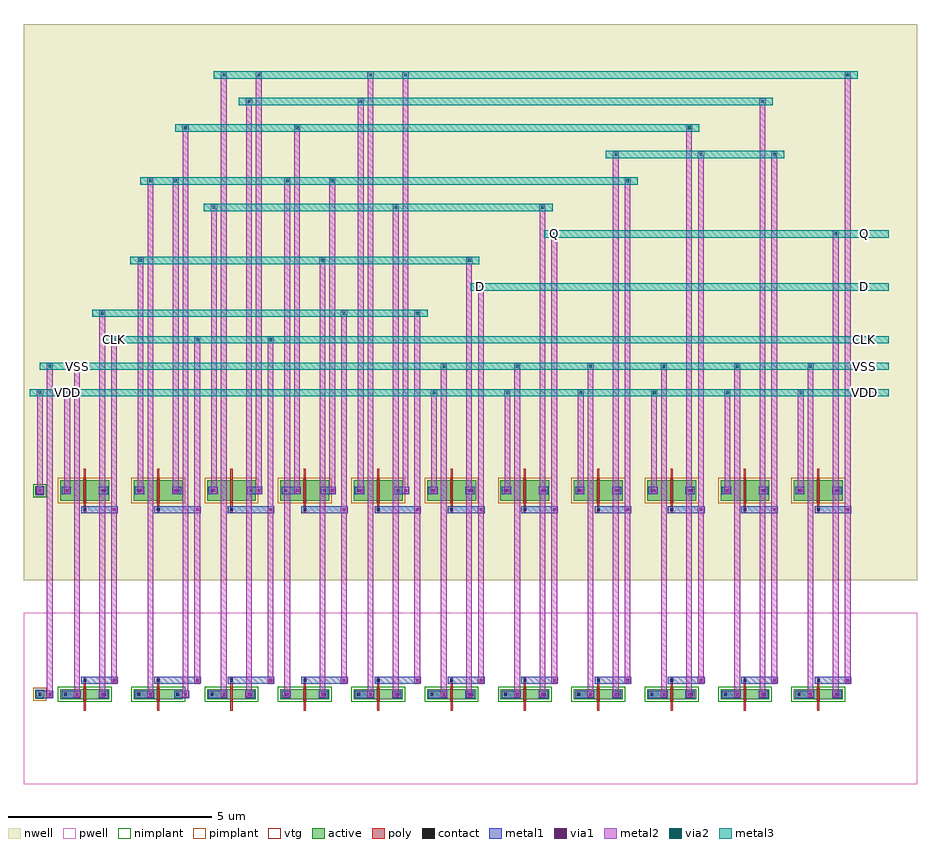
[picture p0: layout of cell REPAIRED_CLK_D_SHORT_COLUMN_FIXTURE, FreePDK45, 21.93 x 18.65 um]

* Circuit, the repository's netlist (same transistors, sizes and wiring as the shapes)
* cell REPAIRED_CLK_D_SHORT_COLUMN_FIXTURE
* pin CLK
* pin D
* pin Q
* pin VDD
* pin VSS
.SUBCKT REPAIRED_CLK_D_SHORT_COLUMN_FIXTURE 7 8 9 12 13
* net 7 CLK
* net 8 D
* net 9 Q
* net 12 VDD
* net 13 VSS
* device instance $1 r0 *1 19.2,7 PMOS_VTG
M$1 9 4 12 12 PMOS_VTG L=0.05U W=0.5U AS=0.2875P AD=0.2875P PS=2.15U PD=2.15U
* device instance $2 r0 *1 17.4,7 PMOS_VTG
M$2 5 6 12 12 PMOS_VTG L=0.05U W=0.5U AS=0.2875P AD=0.2875P PS=2.15U PD=2.15U
* device instance $3 r0 *1 15.6,7 PMOS_VTG
M$3 3 6 12 12 PMOS_VTG L=0.05U W=0.5U AS=0.2875P AD=0.2875P PS=2.15U PD=2.15U
* device instance $4 r0 *1 13.8,7 PMOS_VTG
M$4 6 2 12 12 PMOS_VTG L=0.05U W=0.5U AS=0.2875P AD=0.2875P PS=2.15U PD=2.15U
* device instance $5 r0 *1 12,7 PMOS_VTG
M$5 11 9 12 12 PMOS_VTG L=0.05U W=0.5U AS=0.2875P AD=0.2875P PS=2.15U PD=2.15U
* device instance $6 r0 *1 1.2,7 PMOS_VTG
M$6 1 7 12 12 PMOS_VTG L=0.05U W=0.5U AS=0.2875P AD=0.2875P PS=2.15U PD=2.15U
* device instance $7 r0 *1 10.2,7 PMOS_VTG
M$7 10 8 12 12 PMOS_VTG L=0.05U W=0.5U AS=0.2875P AD=0.2875P PS=2.15U PD=2.15U
* device instance $8 r0 *1 3,7 PMOS_VTG
M$8 2 7 10 12 PMOS_VTG L=0.05U W=0.5U AS=0.2875P AD=0.2875P PS=2.15U PD=2.15U
* device instance $9 r0 *1 4.8,7 PMOS_VTG
M$9 4 7 11 12 PMOS_VTG L=0.05U W=0.5U AS=0.2875P AD=0.2875P PS=2.15U PD=2.15U
* device instance $10 r0 *1 6.6,7 PMOS_VTG
M$10 2 1 3 12 PMOS_VTG L=0.05U W=0.5U AS=0.2875P AD=0.2875P PS=2.15U PD=2.15U
* device instance $11 r0 *1 8.4,7 PMOS_VTG
M$11 4 1 5 12 PMOS_VTG L=0.05U W=0.5U AS=0.2875P AD=0.2875P PS=2.15U PD=2.15U
* device instance $12 r0 *1 19.2,2 NMOS_VTG
M$12 9 4 13 13 NMOS_VTG L=0.05U W=0.25U AS=0.14375P AD=0.14375P PS=1.65U
+ PD=1.65U
* device instance $13 r0 *1 15.6,2 NMOS_VTG
M$13 3 6 13 13 NMOS_VTG L=0.05U W=0.25U AS=0.14375P AD=0.14375P PS=1.65U
+ PD=1.65U
* device instance $14 r0 *1 13.8,2 NMOS_VTG
M$14 6 2 13 13 NMOS_VTG L=0.05U W=0.25U AS=0.14375P AD=0.14375P PS=1.65U
+ PD=1.65U
* device instance $15 r0 *1 12,2 NMOS_VTG
M$15 11 9 13 13 NMOS_VTG L=0.05U W=0.25U AS=0.14375P AD=0.14375P PS=1.65U
+ PD=1.65U
* device instance $16 r0 *1 1.2,2 NMOS_VTG
M$16 1 7 13 13 NMOS_VTG L=0.05U W=0.25U AS=0.14375P AD=0.14375P PS=1.65U
+ PD=1.65U
* device instance $17 r0 *1 17.4,2 NMOS_VTG
M$17 5 6 13 13 NMOS_VTG L=0.05U W=0.25U AS=0.14375P AD=0.14375P PS=1.65U
+ PD=1.65U
* device instance $18 r0 *1 6.6,2 NMOS_VTG
M$18 10 1 2 13 NMOS_VTG L=0.05U W=0.25U AS=0.14375P AD=0.14375P PS=1.65U
+ PD=1.65U
* device instance $19 r0 *1 3,2 NMOS_VTG
M$19 3 7 2 13 NMOS_VTG L=0.05U W=0.25U AS=0.14375P AD=0.14375P PS=1.65U PD=1.65U
* device instance $20 r0 *1 10.2,2 NMOS_VTG
M$20 10 8 13 13 NMOS_VTG L=0.05U W=0.25U AS=0.14375P AD=0.14375P PS=1.65U
+ PD=1.65U
* device instance $21 r0 *1 4.8,2 NMOS_VTG
M$21 5 7 4 13 NMOS_VTG L=0.05U W=0.25U AS=0.14375P AD=0.14375P PS=1.65U PD=1.65U
* device instance $22 r0 *1 8.4,2 NMOS_VTG
M$22 11 1 4 13 NMOS_VTG L=0.05U W=0.25U AS=0.14375P AD=0.14375P PS=1.65U
+ PD=1.65U
.ENDS REPAIRED_CLK_D_SHORT_COLUMN_FIXTURE

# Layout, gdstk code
import gdstk
lib = gdstk.Library(unit=1e-6, precision=5e-10)
def R(c, l, rs):  # rectangles x0, y0, x1, y1
    for r in rs: c.add(gdstk.rectangle(r[:2], r[2:], *l))
def A(c, l, x, y, w, h, nx, ny, dx, dy):  # array of equal rectangles
    R(c, l, [(x+i*dx, y+j*dy, x+i*dx+w, y+j*dy+h) for i in range(nx) for j in range(ny)])
active = (1, 0)
pwell = (2, 0)
nwell = (3, 0)
nimplant = (4, 0)
pimplant = (5, 0)
vtg = (6, 0)
poly = (9, 0)
contact = (10, 0)
metal1 = (11, 0)
via1 = (12, 0)
metal2 = (13, 0)
via2 = (14, 0)
metal3 = (15, 0)

repaired_clk_d_short_col = lib.new_cell('REPAIRED_CLK_D_SHORT_COLUMN_FIXTURE')
A(repaired_clk_d_short_col, active, 0.6, 1.875, 1.2, 0.25, 11, 1, 1.8, 0)
A(repaired_clk_d_short_col, active, 0.6, 6.75, 1.2, 0.5, 11, 1, 1.8, 0)
R(repaired_clk_d_short_col, active, [(-0.01,1.89,0.21,2.11), (-0.01,6.89,0.21,7.11)])
R(repaired_clk_d_short_col, pwell, [(-0.3,-0.2,21.63,4)])
R(repaired_clk_d_short_col, nwell, [(-0.3,4.8,21.63,18.45)])
A(repaired_clk_d_short_col, nimplant, 0.54, 1.815, 1.32, 0.37, 11, 1, 1.8, 0)
R(repaired_clk_d_short_col, nimplant, [(-0.06,6.84,0.26,7.16)])
A(repaired_clk_d_short_col, pimplant, 0.54, 6.69, 1.32, 0.62, 11, 1, 1.8, 0)
R(repaired_clk_d_short_col, pimplant, [(-0.06,1.84,0.26,2.16)])
A(repaired_clk_d_short_col, vtg, 1.165, 1.845, 0.07, 0.31, 11, 1, 1.8, 0)
A(repaired_clk_d_short_col, vtg, 1.165, 6.72, 0.07, 0.56, 11, 1, 1.8, 0)
A(repaired_clk_d_short_col, poly, 1.175, 1.595, 0.05, 0.81, 11, 1, 1.8, 0)
A(repaired_clk_d_short_col, poly, 1.175, 6.47, 0.05, 1.06, 11, 1, 1.8, 0)
A(repaired_clk_d_short_col, contact, 1.17, 2.315, 0.065, 0.065, 11, 2, 1.8, 4.185)
R(repaired_clk_d_short_col, contact, [(0.07,1.97,0.135,2.035), (0.69,1.97,0.755,2.035), (1.65,1.97,1.715,2.035), (2.49,1.97,2.555,2.035), (3.45,1.97,3.515,2.035), (4.29,1.97,4.355,2.035), (5.25,1.97,5.315,2.035), (6.09,1.97,6.155,2.035), (7.05,1.97,7.115,2.035), (7.89,1.97,7.955,2.035), (8.85,1.97,8.915,2.035), (9.69,1.97,9.755,2.035), (10.65,1.97,10.715,2.035), (11.49,1.97,11.555,2.035), (12.45,1.97,12.515,2.035), (13.29,1.97,13.355,2.035), (14.25,1.97,14.315,2.035), (15.09,1.97,15.155,2.035), (16.05,1.97,16.115,2.035), (16.89,1.97,16.955,2.035), (17.85,1.97,17.915,2.035), (18.69,1.97,18.755,2.035), (19.65,1.97,19.715,2.035), (0.07,6.97,0.135,7.035), (0.69,6.97,0.755,7.035), (1.65,6.97,1.715,7.035), (2.49,6.97,2.555,7.035), (3.45,6.97,3.515,7.035), (4.29,6.97,4.355,7.035), (5.25,6.97,5.315,7.035), (6.09,6.97,6.155,7.035), (7.05,6.97,7.115,7.035), (7.89,6.97,7.955,7.035), (8.85,6.97,8.915,7.035), (9.69,6.97,9.755,7.035), (10.65,6.97,10.715,7.035), (11.49,6.97,11.555,7.035), (12.45,6.97,12.515,7.035), (13.29,6.97,13.355,7.035), (14.25,6.97,14.315,7.035), (15.09,6.97,15.155,7.035), (16.05,6.97,16.115,7.035), (16.89,6.97,16.955,7.035), (17.85,6.97,17.915,7.035), (18.69,6.97,18.755,7.035), (19.65,6.97,19.715,7.035)])
A(repaired_clk_d_short_col, metal1, 7.97, 1.91, 0.24, 0.18, 7, 1, 1.8, 0)
A(repaired_clk_d_short_col, metal1, 3, 2.255, 0.96, 0.18, 4, 2, 1.8, 4.185)
A(repaired_clk_d_short_col, metal1, 10.2, 2.255, 0.72, 0.18, 6, 2, 1.8, 4.185)
R(repaired_clk_d_short_col, metal1, [(0,1.9,0.2,2.1), (0.1,1.91,0.34,2.09), (0.1,1.91,0.34,2.09), (0.1,1.91,0.34,2.09), (0.1,1.91,0.34,2.09), (0.1,1.91,0.34,2.09), (0.1,1.91,0.34,2.09), (0.1,1.91,0.34,2.09), (0.1,1.91,0.34,2.09), (0.1,1.91,0.34,2.09), (0.1,1.91,0.34,2.09), (0.1,1.91,0.34,2.09), (0.1,1.91,0.34,2.09), (0.25,1.91,0.43,2.09), (0.25,1.91,0.43,2.09), (0.25,1.91,0.43,2.09), (0.25,1.91,0.43,2.09), (0.25,1.91,0.43,2.09), (0.25,1.91,0.43,2.09), (0.25,1.91,0.43,2.09), (0.25,1.91,0.43,2.09), (0.25,1.91,0.43,2.09), (0.25,1.91,0.43,2.09), (0.25,1.91,0.43,2.09), (0.25,1.91,0.43,2.09), (0.63,1.91,0.81,2.09), (0.77,1.91,1.01,2.09), (0.92,1.91,1.1,2.09), (1.54,1.91,1.72,2.09), (1.59,1.91,1.77,2.09), (2.43,1.91,2.61,2.09), (2.57,1.91,2.81,2.09), (2.72,1.91,2.9,2.09), (3.39,1.91,3.57,2.09), (3.43,1.91,3.67,2.09), (3.58,1.91,3.76,2.09), (4.23,1.91,4.41,2.09), (4.37,1.91,4.61,2.09), (4.52,1.91,4.7,2.09), (5.14,1.91,5.32,2.09), (5.19,1.91,5.37,2.09), (6.03,1.91,6.21,2.09), (6.08,1.91,6.26,2.09), (6.94,1.91,7.12,2.09), (6.99,1.91,7.17,2.09), (7.83,1.91,8.01,2.09), (8.12,1.91,8.3,2.09), (8.74,1.91,8.92,2.09), (8.79,1.91,8.97,2.09), (9.63,1.91,9.81,2.09), (9.92,1.91,10.1,2.09), (10.54,1.91,10.72,2.09), (10.59,1.91,10.77,2.09), (11.43,1.91,11.61,2.09), (11.72,1.91,11.9,2.09), (12.34,1.91,12.52,2.09), (12.39,1.91,12.57,2.09), (13.23,1.91,13.41,2.09), (13.52,1.91,13.7,2.09), (14.14,1.91,14.32,2.09), (14.19,1.91,14.37,2.09), (15.03,1.91,15.21,2.09), (15.32,1.91,15.5,2.09), (15.94,1.91,16.12,2.09), (15.99,1.91,16.17,2.09), (16.83,1.91,17.01,2.09), (17.12,1.91,17.3,2.09), (17.74,1.91,17.92,2.09), (17.79,1.91,17.97,2.09), (18.63,1.91,18.81,2.09), (18.92,1.91,19.1,2.09), (19.54,1.91,19.72,2.09), (19.59,1.91,19.77,2.09), (1.11,2.255,1.29,2.435), (1.2,2.255,1.92,2.435), (1.83,2.255,2.01,2.435), (2.91,2.255,3.09,2.435), (3.87,2.255,4.05,2.435), (4.71,2.255,4.89,2.435), (5.67,2.255,5.85,2.435), (6.51,2.255,6.69,2.435), (7.47,2.255,7.65,2.435), (8.31,2.255,8.49,2.435), (9.27,2.255,9.45,2.435), (10.11,2.255,10.29,2.435), (10.83,2.255,11.01,2.435), (11.91,2.255,12.09,2.435), (12.63,2.255,12.81,2.435), (13.71,2.255,13.89,2.435), (14.43,2.255,14.61,2.435), (15.51,2.255,15.69,2.435), (16.23,2.255,16.41,2.435), (17.31,2.255,17.49,2.435), (18.03,2.255,18.21,2.435), (19.11,2.255,19.29,2.435), (19.83,2.255,20.01,2.435), (1.11,6.44,1.29,6.62), (1.2,6.44,1.92,6.62), (1.83,6.44,2.01,6.62), (2.91,6.44,3.09,6.62), (3.87,6.44,4.05,6.62), (4.71,6.44,4.89,6.62), (5.67,6.44,5.85,6.62), (6.51,6.44,6.69,6.62), (7.47,6.44,7.65,6.62), (8.31,6.44,8.49,6.62), (9.27,6.44,9.45,6.62), (10.11,6.44,10.29,6.62), (10.83,6.44,11.01,6.62), (11.91,6.44,12.09,6.62), (12.63,6.44,12.81,6.62), (13.71,6.44,13.89,6.62), (14.43,6.44,14.61,6.62), (15.51,6.44,15.69,6.62), (16.23,6.44,16.41,6.62), (17.31,6.44,17.49,6.62), (18.03,6.44,18.21,6.62), (19.11,6.44,19.29,6.62), (19.83,6.44,20.01,6.62), (0,6.9,0.2,7.1), (0.01,6.91,0.19,7.09), (0.01,6.91,0.19,7.09), (0.01,6.91,0.19,7.09), (0.01,6.91,0.19,7.09), (0.01,6.91,0.19,7.09), (0.01,6.91,0.19,7.09), (0.01,6.91,0.19,7.09), (0.01,6.91,0.19,7.09), (0.01,6.91,0.19,7.09), (0.01,6.91,0.19,7.09), (0.01,6.91,0.19,7.09), (0.01,6.91,0.19,7.09), (0.63,6.91,0.81,7.09), (0.68,6.91,0.86,7.09), (1.54,6.91,1.72,7.09), (1.59,6.91,1.77,7.09), (2.43,6.91,2.61,7.09), (2.48,6.91,2.66,7.09), (3.34,6.91,3.52,7.09), (3.39,6.91,3.57,7.09), (4.23,6.91,4.41,7.09), (4.28,6.91,4.46,7.09), (5.19,6.91,5.37,7.09), (5.23,6.91,5.47,7.09), (5.38,6.91,5.56,7.09), (6.03,6.91,6.21,7.09), (6.17,6.91,6.41,7.09), (6.32,6.91,6.5,7.09), (6.99,6.91,7.17,7.09), (7.03,6.91,7.27,7.09), (7.18,6.91,7.36,7.09), (7.83,6.91,8.01,7.09), (7.88,6.91,8.06,7.09), (8.79,6.91,8.97,7.09), (8.83,6.91,9.07,7.09), (8.98,6.91,9.16,7.09), (9.63,6.91,9.81,7.09), (9.68,6.91,9.86,7.09), (10.54,6.91,10.72,7.09), (10.59,6.91,10.77,7.09), (11.43,6.91,11.61,7.09), (11.48,6.91,11.66,7.09), (12.34,6.91,12.52,7.09), (12.39,6.91,12.57,7.09), (13.23,6.91,13.41,7.09), (13.28,6.91,13.46,7.09), (14.14,6.91,14.32,7.09), (14.19,6.91,14.37,7.09), (15.03,6.91,15.21,7.09), (15.08,6.91,15.26,7.09), (15.94,6.91,16.12,7.09), (15.99,6.91,16.17,7.09), (16.83,6.91,17.01,7.09), (16.88,6.91,17.06,7.09), (17.74,6.91,17.92,7.09), (17.79,6.91,17.97,7.09), (18.63,6.91,18.81,7.09), (18.68,6.91,18.86,7.09), (19.54,6.91,19.72,7.09), (19.59,6.91,19.77,7.09)])
A(repaired_clk_d_short_col, via1, 3.93, 2.315, 0.065, 0.065, 4, 2, 1.8, 4.185)
A(repaired_clk_d_short_col, via1, 10.89, 2.315, 0.065, 0.065, 6, 2, 1.8, 4.185)
R(repaired_clk_d_short_col, via1, [(0.31,1.97,0.375,2.035), (0.31,1.97,0.375,2.035), (0.31,1.97,0.375,2.035), (0.31,1.97,0.375,2.035), (0.31,1.97,0.375,2.035), (0.31,1.97,0.375,2.035), (0.31,1.97,0.375,2.035), (0.31,1.97,0.375,2.035), (0.31,1.97,0.375,2.035), (0.31,1.97,0.375,2.035), (0.31,1.97,0.375,2.035), (0.31,1.97,0.375,2.035), (0.98,1.97,1.045,2.035), (1.6,1.97,1.665,2.035), (2.78,1.97,2.845,2.035), (3.64,1.97,3.705,2.035), (4.58,1.97,4.645,2.035), (5.2,1.97,5.265,2.035), (6.14,1.97,6.205,2.035), (7,1.97,7.065,2.035), (8.18,1.97,8.245,2.035), (8.8,1.97,8.865,2.035), (9.98,1.97,10.045,2.035), (10.6,1.97,10.665,2.035), (11.78,1.97,11.845,2.035), (12.4,1.97,12.465,2.035), (13.58,1.97,13.645,2.035), (14.2,1.97,14.265,2.035), (15.38,1.97,15.445,2.035), (16,1.97,16.065,2.035), (17.18,1.97,17.245,2.035), (17.8,1.97,17.865,2.035), (18.98,1.97,19.045,2.035), (19.6,1.97,19.665,2.035), (1.89,2.315,1.955,2.38), (1.89,6.5,1.955,6.565), (0.07,6.97,0.135,7.035), (0.07,6.97,0.135,7.035), (0.07,6.97,0.135,7.035), (0.07,6.97,0.135,7.035), (0.07,6.97,0.135,7.035), (0.07,6.97,0.135,7.035), (0.07,6.97,0.135,7.035), (0.07,6.97,0.135,7.035), (0.07,6.97,0.135,7.035), (0.07,6.97,0.135,7.035), (0.07,6.97,0.135,7.035), (0.07,6.97,0.135,7.035), (0.74,6.97,0.805,7.035), (1.6,6.97,1.665,7.035), (2.54,6.97,2.605,7.035), (3.4,6.97,3.465,7.035), (4.34,6.97,4.405,7.035), (5.44,6.97,5.505,7.035), (6.38,6.97,6.445,7.035), (7.24,6.97,7.305,7.035), (7.94,6.97,8.005,7.035), (9.04,6.97,9.105,7.035), (9.74,6.97,9.805,7.035), (10.6,6.97,10.665,7.035), (11.54,6.97,11.605,7.035), (12.4,6.97,12.465,7.035), (13.34,6.97,13.405,7.035), (14.2,6.97,14.265,7.035), (15.14,6.97,15.205,7.035), (16,6.97,16.065,7.035), (16.94,6.97,17.005,7.035), (17.8,6.97,17.865,7.035), (18.74,6.97,18.805,7.035), (19.6,6.97,19.665,7.035)])
A(repaired_clk_d_short_col, metal2, 9.94, 2, 0.14, 8.05, 6, 1, 1.8, 0)
A(repaired_clk_d_short_col, metal2, 3.885, 2.27, 0.15, 0.15, 4, 2, 1.8, 4.185)
A(repaired_clk_d_short_col, metal2, 10.845, 2.27, 0.15, 0.15, 6, 2, 1.8, 4.185)
A(repaired_clk_d_short_col, metal2, 9.7, 7, 0.14, 2.4, 6, 1, 1.8, 0)
A(repaired_clk_d_short_col, metal2, 9.695, 9.325, 0.15, 0.15, 6, 1, 1.8, 0)
A(repaired_clk_d_short_col, metal2, 9.935, 9.975, 0.15, 0.15, 6, 1, 1.8, 0)
R(repaired_clk_d_short_col, metal2, [(0.265,1.925,0.415,2.075), (0.265,1.925,0.415,2.075), (0.265,1.925,0.415,2.075), (0.265,1.925,0.415,2.075), (0.265,1.925,0.415,2.075), (0.265,1.925,0.415,2.075), (0.265,1.925,0.415,2.075), (0.265,1.925,0.415,2.075), (0.265,1.925,0.415,2.075), (0.265,1.925,0.415,2.075), (0.265,1.925,0.415,2.075), (0.265,1.925,0.415,2.075), (0.935,1.925,1.085,2.075), (1.555,1.925,1.705,2.075), (2.735,1.925,2.885,2.075), (3.595,1.925,3.745,2.075), (4.535,1.925,4.685,2.075), (5.155,1.925,5.305,2.075), (6.095,1.925,6.245,2.075), (6.955,1.925,7.105,2.075), (8.135,1.925,8.285,2.075), (8.755,1.925,8.905,2.075), (9.935,1.925,10.085,2.075), (10.555,1.925,10.705,2.075), (11.735,1.925,11.885,2.075), (12.355,1.925,12.505,2.075), (13.535,1.925,13.685,2.075), (14.155,1.925,14.305,2.075), (15.335,1.925,15.485,2.075), (15.955,1.925,16.105,2.075), (17.135,1.925,17.285,2.075), (17.755,1.925,17.905,2.075), (18.935,1.925,19.085,2.075), (19.555,1.925,19.705,2.075), (0.27,2,0.41,10.05), (0.27,2,0.41,10.05), (0.27,2,0.41,10.05), (0.27,2,0.41,10.05), (0.27,2,0.41,10.05), (0.27,2,0.41,10.05), (0.27,2,0.41,10.05), (0.27,2,0.41,10.05), (0.27,2,0.41,10.05), (0.27,2,0.41,10.05), (0.27,2,0.41,10.05), (0.27,2,0.41,10.05), (0.94,2,1.08,10.05), (1.56,2,1.7,11.35), (2.74,2,2.88,14.6), (3.6,2,3.74,15.9), (4.54,2,4.68,17.2), (5.16,2,5.3,16.55), (6.1,2,6.24,14.6), (6.96,2,7.1,12.65), (8.14,2,8.28,17.2), (8.76,2,8.9,13.95), (10.56,2,10.7,12.65), (12.36,2,12.5,13.95), (14.16,2,14.3,15.25), (15.96,2,16.1,15.9), (17.76,2,17.9,16.55), (19.56,2,19.7,13.3), (1.845,2.27,1.995,2.42), (1.85,2.345,1.99,10.7), (3.89,2.345,4.03,10.7), (5.69,2.345,5.83,10.7), (7.49,2.345,7.63,11.35), (9.29,2.345,9.43,11.35), (10.85,2.345,10.99,12), (12.65,2.345,12.79,13.3), (14.45,2.345,14.59,14.6), (16.25,2.345,16.39,15.25), (18.05,2.345,18.19,15.25), (19.85,2.345,19.99,17.2), (1.845,6.455,1.995,6.605), (1.85,6.53,1.99,10.7), (3.89,6.53,4.03,10.7), (5.69,6.53,5.83,10.7), (7.49,6.53,7.63,11.35), (9.29,6.53,9.43,11.35), (10.85,6.53,10.99,12), (12.65,6.53,12.79,13.3), (14.45,6.53,14.59,14.6), (16.25,6.53,16.39,15.25), (18.05,6.53,18.19,15.25), (19.85,6.53,19.99,17.2), (0.025,6.925,0.175,7.075), (0.025,6.925,0.175,7.075), (0.025,6.925,0.175,7.075), (0.025,6.925,0.175,7.075), (0.025,6.925,0.175,7.075), (0.025,6.925,0.175,7.075), (0.025,6.925,0.175,7.075), (0.025,6.925,0.175,7.075), (0.025,6.925,0.175,7.075), (0.025,6.925,0.175,7.075), (0.025,6.925,0.175,7.075), (0.025,6.925,0.175,7.075), (0.695,6.925,0.845,7.075), (1.555,6.925,1.705,7.075), (2.495,6.925,2.645,7.075), (3.355,6.925,3.505,7.075), (4.295,6.925,4.445,7.075), (5.395,6.925,5.545,7.075), (6.335,6.925,6.485,7.075), (7.195,6.925,7.345,7.075), (7.895,6.925,8.045,7.075), (8.995,6.925,9.145,7.075), (9.695,6.925,9.845,7.075), (10.555,6.925,10.705,7.075), (11.495,6.925,11.645,7.075), (12.355,6.925,12.505,7.075), (13.295,6.925,13.445,7.075), (14.155,6.925,14.305,7.075), (15.095,6.925,15.245,7.075), (15.955,6.925,16.105,7.075), (16.895,6.925,17.045,7.075), (17.755,6.925,17.905,7.075), (18.695,6.925,18.845,7.075), (19.555,6.925,19.705,7.075), (0.03,7,0.17,9.4), (0.03,7,0.17,9.4), (0.03,7,0.17,9.4), (0.03,7,0.17,9.4), (0.03,7,0.17,9.4), (0.03,7,0.17,9.4), (0.03,7,0.17,9.4), (0.03,7,0.17,9.4), (0.03,7,0.17,9.4), (0.03,7,0.17,9.4), (0.03,7,0.17,9.4), (0.03,7,0.17,9.4), (0.7,7,0.84,9.4), (1.56,7,1.7,11.35), (2.5,7,2.64,12.65), (3.36,7,3.5,14.6), (4.3,7,4.44,13.95), (5.4,7,5.54,17.2), (6.34,7,6.48,15.9), (7.2,7,7.34,14.6), (7.9,7,8.04,16.55), (9,7,9.14,17.2), (10.56,7,10.7,12.65), (12.36,7,12.5,13.95), (14.16,7,14.3,15.25), (15.96,7,16.1,15.9), (17.76,7,17.9,16.55), (19.56,7,19.7,13.3), (0.025,9.325,0.175,9.475), (0.025,9.325,0.175,9.475), (0.025,9.325,0.175,9.475), (0.025,9.325,0.175,9.475), (0.025,9.325,0.175,9.475), (0.025,9.325,0.175,9.475), (0.025,9.325,0.175,9.475), (0.025,9.325,0.175,9.475), (0.025,9.325,0.175,9.475), (0.025,9.325,0.175,9.475), (0.025,9.325,0.175,9.475), (0.025,9.325,0.175,9.475), (0.695,9.325,0.845,9.475), (0.265,9.975,0.415,10.125), (0.265,9.975,0.415,10.125), (0.265,9.975,0.415,10.125), (0.265,9.975,0.415,10.125), (0.265,9.975,0.415,10.125), (0.265,9.975,0.415,10.125), (0.265,9.975,0.415,10.125), (0.265,9.975,0.415,10.125), (0.265,9.975,0.415,10.125), (0.265,9.975,0.415,10.125), (0.265,9.975,0.415,10.125), (0.265,9.975,0.415,10.125), (0.935,9.975,1.085,10.125), (1.845,10.625,1.995,10.775), (1.845,10.625,1.995,10.775), (3.885,10.625,4.035,10.775), (3.885,10.625,4.035,10.775), (5.685,10.625,5.835,10.775), (5.685,10.625,5.835,10.775), (1.555,11.275,1.705,11.425), (1.555,11.275,1.705,11.425), (7.485,11.275,7.635,11.425), (7.485,11.275,7.635,11.425), (9.285,11.275,9.435,11.425), (9.285,11.275,9.435,11.425), (10.845,11.925,10.995,12.075), (10.845,11.925,10.995,12.075), (2.495,12.575,2.645,12.725), (6.955,12.575,7.105,12.725), (10.555,12.575,10.705,12.725), (10.555,12.575,10.705,12.725), (12.645,13.225,12.795,13.375), (12.645,13.225,12.795,13.375), (19.555,13.225,19.705,13.375), (19.555,13.225,19.705,13.375), (4.295,13.875,4.445,14.025), (8.755,13.875,8.905,14.025), (12.355,13.875,12.505,14.025), (12.355,13.875,12.505,14.025), (2.735,14.525,2.885,14.675), (3.355,14.525,3.505,14.675), (6.095,14.525,6.245,14.675), (7.195,14.525,7.345,14.675), (14.445,14.525,14.595,14.675), (14.445,14.525,14.595,14.675), (14.155,15.175,14.305,15.325), (14.155,15.175,14.305,15.325), (16.245,15.175,16.395,15.325), (16.245,15.175,16.395,15.325), (18.045,15.175,18.195,15.325), (18.045,15.175,18.195,15.325), (3.595,15.825,3.745,15.975), (6.335,15.825,6.485,15.975), (15.955,15.825,16.105,15.975), (15.955,15.825,16.105,15.975), (5.155,16.475,5.305,16.625), (7.895,16.475,8.045,16.625), (17.755,16.475,17.905,16.625), (17.755,16.475,17.905,16.625), (4.535,17.125,4.685,17.275), (5.395,17.125,5.545,17.275), (8.135,17.125,8.285,17.275), (8.995,17.125,9.145,17.275), (19.845,17.125,19.995,17.275), (19.845,17.125,19.995,17.275)])
A(repaired_clk_d_short_col, via2, 9.74, 9.37, 0.065, 0.065, 6, 1, 1.8, 0)
A(repaired_clk_d_short_col, via2, 9.98, 10.02, 0.065, 0.065, 6, 1, 1.8, 0)
R(repaired_clk_d_short_col, via2, [(0.07,9.37,0.135,9.435), (0.07,9.37,0.135,9.435), (0.07,9.37,0.135,9.435), (0.07,9.37,0.135,9.435), (0.07,9.37,0.135,9.435), (0.07,9.37,0.135,9.435), (0.07,9.37,0.135,9.435), (0.07,9.37,0.135,9.435), (0.07,9.37,0.135,9.435), (0.07,9.37,0.135,9.435), (0.07,9.37,0.135,9.435), (0.07,9.37,0.135,9.435), (0.74,9.37,0.805,9.435), (0.31,10.02,0.375,10.085), (0.31,10.02,0.375,10.085), (0.31,10.02,0.375,10.085), (0.31,10.02,0.375,10.085), (0.31,10.02,0.375,10.085), (0.31,10.02,0.375,10.085), (0.31,10.02,0.375,10.085), (0.31,10.02,0.375,10.085), (0.31,10.02,0.375,10.085), (0.31,10.02,0.375,10.085), (0.31,10.02,0.375,10.085), (0.31,10.02,0.375,10.085), (0.98,10.02,1.045,10.085), (1.89,10.67,1.955,10.735), (1.89,10.67,1.955,10.735), (3.93,10.67,3.995,10.735), (3.93,10.67,3.995,10.735), (5.73,10.67,5.795,10.735), (5.73,10.67,5.795,10.735), (1.6,11.32,1.665,11.385), (1.6,11.32,1.665,11.385), (7.53,11.32,7.595,11.385), (7.53,11.32,7.595,11.385), (9.33,11.32,9.395,11.385), (9.33,11.32,9.395,11.385), (10.89,11.97,10.955,12.035), (10.89,11.97,10.955,12.035), (2.54,12.62,2.605,12.685), (7,12.62,7.065,12.685), (10.6,12.62,10.665,12.685), (10.6,12.62,10.665,12.685), (12.69,13.27,12.755,13.335), (12.69,13.27,12.755,13.335), (19.6,13.27,19.665,13.335), (19.6,13.27,19.665,13.335), (4.34,13.92,4.405,13.985), (8.8,13.92,8.865,13.985), (12.4,13.92,12.465,13.985), (12.4,13.92,12.465,13.985), (2.78,14.57,2.845,14.635), (3.4,14.57,3.465,14.635), (6.14,14.57,6.205,14.635), (7.24,14.57,7.305,14.635), (14.49,14.57,14.555,14.635), (14.49,14.57,14.555,14.635), (14.2,15.22,14.265,15.285), (14.2,15.22,14.265,15.285), (16.29,15.22,16.355,15.285), (16.29,15.22,16.355,15.285), (18.09,15.22,18.155,15.285), (18.09,15.22,18.155,15.285), (3.64,15.87,3.705,15.935), (6.38,15.87,6.445,15.935), (16,15.87,16.065,15.935), (16,15.87,16.065,15.935), (5.2,16.52,5.265,16.585), (7.94,16.52,8.005,16.585), (17.8,16.52,17.865,16.585), (17.8,16.52,17.865,16.585), (4.58,17.17,4.645,17.235), (5.44,17.17,5.505,17.235), (8.18,17.17,8.245,17.235), (9.04,17.17,9.105,17.235), (19.89,17.17,19.955,17.235), (19.89,17.17,19.955,17.235)])
A(repaired_clk_d_short_col, metal3, 9.695, 9.325, 0.15, 0.15, 6, 1, 1.8, 0)
A(repaired_clk_d_short_col, metal3, 9.935, 9.975, 0.15, 0.15, 6, 1, 1.8, 0)
R(repaired_clk_d_short_col, metal3, [(-0.15,9.31,19.02,9.49), (19.02,9.31,20.93,9.49), (0.025,9.325,0.175,9.475), (0.025,9.325,0.175,9.475), (0.025,9.325,0.175,9.475), (0.025,9.325,0.175,9.475), (0.025,9.325,0.175,9.475), (0.025,9.325,0.175,9.475), (0.025,9.325,0.175,9.475), (0.025,9.325,0.175,9.475), (0.025,9.325,0.175,9.475), (0.025,9.325,0.175,9.475), (0.025,9.325,0.175,9.475), (0.025,9.325,0.175,9.475), (0.695,9.325,0.845,9.475), (0.09,9.96,19.26,10.14), (19.26,9.96,20.93,10.14), (0.265,9.975,0.415,10.125), (0.265,9.975,0.415,10.125), (0.265,9.975,0.415,10.125), (0.265,9.975,0.415,10.125), (0.265,9.975,0.415,10.125), (0.265,9.975,0.415,10.125), (0.265,9.975,0.415,10.125), (0.265,9.975,0.415,10.125), (0.265,9.975,0.415,10.125), (0.265,9.975,0.415,10.125), (0.265,9.975,0.415,10.125), (0.265,9.975,0.415,10.125), (0.935,9.975,1.085,10.125), (1.67,10.61,6.01,10.79), (6.01,10.61,20.93,10.79), (1.845,10.625,1.995,10.775), (1.845,10.625,1.995,10.775), (3.885,10.625,4.035,10.775), (3.885,10.625,4.035,10.775), (5.685,10.625,5.835,10.775), (5.685,10.625,5.835,10.775), (1.38,11.26,9.61,11.44), (1.555,11.275,1.705,11.425), (1.555,11.275,1.705,11.425), (7.485,11.275,7.635,11.425), (7.485,11.275,7.635,11.425), (9.285,11.275,9.435,11.425), (9.285,11.275,9.435,11.425), (10.67,11.91,11.17,12.09), (11.17,11.91,20.93,12.09), (10.845,11.925,10.995,12.075), (10.845,11.925,10.995,12.075), (2.32,12.56,10.88,12.74), (2.495,12.575,2.645,12.725), (6.955,12.575,7.105,12.725), (10.555,12.575,10.705,12.725), (10.555,12.575,10.705,12.725), (12.47,13.21,19.88,13.39), (19.88,13.21,20.93,13.39), (12.645,13.225,12.795,13.375), (12.645,13.225,12.795,13.375), (19.555,13.225,19.705,13.375), (19.555,13.225,19.705,13.375), (4.12,13.86,12.68,14.04), (4.295,13.875,4.445,14.025), (8.755,13.875,8.905,14.025), (12.355,13.875,12.505,14.025), (12.355,13.875,12.505,14.025), (2.56,14.51,14.77,14.69), (2.735,14.525,2.885,14.675), (3.355,14.525,3.505,14.675), (6.095,14.525,6.245,14.675), (7.195,14.525,7.345,14.675), (14.445,14.525,14.595,14.675), (14.445,14.525,14.595,14.675), (13.98,15.16,18.37,15.34), (14.155,15.175,14.305,15.325), (14.155,15.175,14.305,15.325), (16.245,15.175,16.395,15.325), (16.245,15.175,16.395,15.325), (18.045,15.175,18.195,15.325), (18.045,15.175,18.195,15.325), (3.42,15.81,16.28,15.99), (3.595,15.825,3.745,15.975), (6.335,15.825,6.485,15.975), (15.955,15.825,16.105,15.975), (15.955,15.825,16.105,15.975), (4.98,16.46,18.08,16.64), (5.155,16.475,5.305,16.625), (7.895,16.475,8.045,16.625), (17.755,16.475,17.905,16.625), (17.755,16.475,17.905,16.625), (4.36,17.11,20.17,17.29), (4.535,17.125,4.685,17.275), (5.395,17.125,5.545,17.275), (8.135,17.125,8.285,17.275), (8.995,17.125,9.145,17.275), (19.845,17.125,19.995,17.275), (19.845,17.125,19.995,17.275)])
repaired_clk_d_short_col.add(gdstk.Label('VDD', (20.33,9.4), layer=15, texttype=0))
repaired_clk_d_short_col.add(gdstk.Label('VDD', (20.33,9.4), layer=15, texttype=1))
repaired_clk_d_short_col.add(gdstk.Label('VDD', (20.33,9.4), layer=15, texttype=2))
repaired_clk_d_short_col.add(gdstk.Label('VDD', (0.77,9.4), layer=13, texttype=0))
repaired_clk_d_short_col.add(gdstk.Label('VDD', (0.77,9.4), layer=13, texttype=1))
repaired_clk_d_short_col.add(gdstk.Label('VDD', (0.77,9.4), layer=13, texttype=2))
repaired_clk_d_short_col.add(gdstk.Label('VSS', (20.33,10.05), layer=15, texttype=0))
repaired_clk_d_short_col.add(gdstk.Label('VSS', (20.33,10.05), layer=15, texttype=1))
repaired_clk_d_short_col.add(gdstk.Label('VSS', (20.33,10.05), layer=15, texttype=2))
repaired_clk_d_short_col.add(gdstk.Label('VSS', (1.01,10.05), layer=13, texttype=0))
repaired_clk_d_short_col.add(gdstk.Label('VSS', (1.01,10.05), layer=13, texttype=1))
repaired_clk_d_short_col.add(gdstk.Label('VSS', (1.01,10.05), layer=13, texttype=2))
repaired_clk_d_short_col.add(gdstk.Label('D', (20.33,12), layer=15, texttype=0))
repaired_clk_d_short_col.add(gdstk.Label('D', (20.33,12), layer=15, texttype=1))
repaired_clk_d_short_col.add(gdstk.Label('D', (20.33,12), layer=15, texttype=2))
repaired_clk_d_short_col.add(gdstk.Label('D', (10.92,12), layer=13, texttype=0))
repaired_clk_d_short_col.add(gdstk.Label('D', (10.92,12), layer=13, texttype=1))
repaired_clk_d_short_col.add(gdstk.Label('D', (10.92,12), layer=13, texttype=2))
repaired_clk_d_short_col.add(gdstk.Label('Q', (20.33,13.3), layer=15, texttype=0))
repaired_clk_d_short_col.add(gdstk.Label('Q', (20.33,13.3), layer=15, texttype=1))
repaired_clk_d_short_col.add(gdstk.Label('Q', (20.33,13.3), layer=15, texttype=2))
repaired_clk_d_short_col.add(gdstk.Label('Q', (12.72,13.3), layer=13, texttype=0))
repaired_clk_d_short_col.add(gdstk.Label('Q', (12.72,13.3), layer=13, texttype=1))
repaired_clk_d_short_col.add(gdstk.Label('Q', (12.72,13.3), layer=13, texttype=2))
repaired_clk_d_short_col.add(gdstk.Label('CLK', (20.33,10.7), layer=15, texttype=0))
repaired_clk_d_short_col.add(gdstk.Label('CLK', (20.33,10.7), layer=15, texttype=1))
repaired_clk_d_short_col.add(gdstk.Label('CLK', (20.33,10.7), layer=15, texttype=2))
repaired_clk_d_short_col.add(gdstk.Label('CLK', (1.92,10.7), layer=13, texttype=0))
repaired_clk_d_short_col.add(gdstk.Label('CLK', (1.92,10.7), layer=13, texttype=1))
repaired_clk_d_short_col.add(gdstk.Label('CLK', (1.92,10.7), layer=13, texttype=2))

lib.write_gds('REPAIRED_CLK_D_SHORT_COLUMN_FIXTURE.gds')
